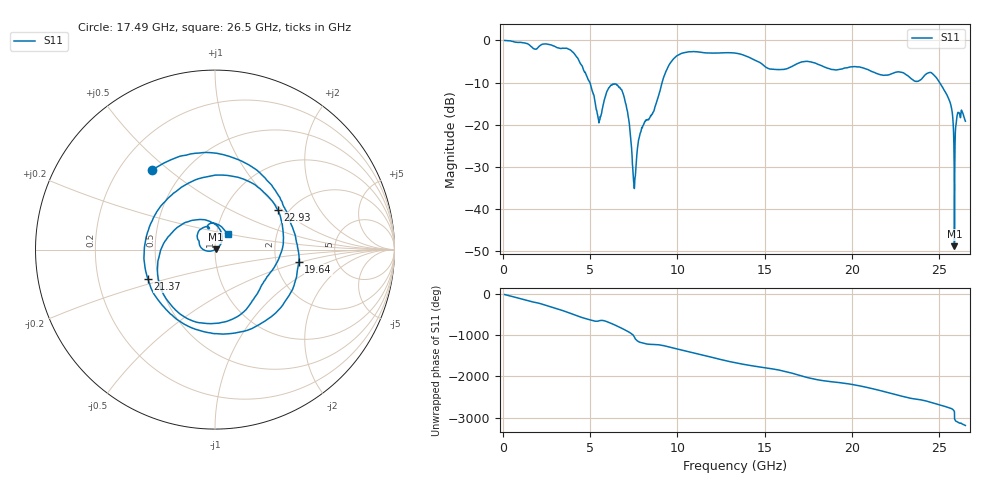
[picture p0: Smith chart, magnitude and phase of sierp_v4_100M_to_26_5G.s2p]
!Keysight Technologies,N5222B,MY60213399,A.14.00.23
!Date: Tuesday, February 27, 2024 20:36:21
!Correction: S11(C  1-Port  )
!S21(Off)
!S12(Off)
!S22(Off)
!S2P File: Measurement: :
# Hz S  dB  R 50
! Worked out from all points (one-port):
!   3201 points, 100 MHz to 26.5 GHz, reference 50 ohm
!   lowest |S11| = -48.9 dB at 25.87 GHz (marker M1), VSWR 1.01, Z = 50.3 + j0.0993 ohm
!   |S11| at or under -10 dB: 4.987 GHz to 9.124 GHz (4.137 GHz wide, 58.6 % of centre); 25.02 GHz to end of sweep
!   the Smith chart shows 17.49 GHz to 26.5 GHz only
!   S11 on the Smith chart (normalised r, x): 17.49 GHz: 0.34, +0.44; 19.64 GHz: 2.69, -0.47; 21.37 GHz: 0.43, -0.17; 22.93 GHz: 1.75, +0.94; 26.5 GHz: 1.13, +0.19
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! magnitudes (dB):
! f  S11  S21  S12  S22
! 100 MHz  0.0  -  -  -
! 4.505 GHz  -5.9  -  -  -
! 5.52 GHz  -19.3  -  -  -
! 6.122 GHz  -11.0  -  -  -
! 6.807 GHz  -11.7  -  -  -
! 7.17 GHz  -17.8  -  -  -
! 7.533 GHz  -35.2  -  -  -
! 7.904 GHz  -21.7  -  -  -
! 8.903 GHz  -13.4  -  -  -
! 10.06 GHz  -3.5  -  -  -
! 13.3 GHz  -3.0  -  -  -
! 17.49 GHz  -5.0  -  -  -
! 17.71 GHz  -5.2  -  -  -
! 19.64 GHz  -6.5  -  -  -
! 21.37 GHz  -7.8  -  -  -
! 22.1 GHz  -8.2  -  -  -
! 22.93 GHz  -7.7  -  -  -
! 24.83 GHz  -8.8  -  -  -
! 25.6 GHz  -14.5  -  -  -
! 25.87 GHz  -48.9  -  -  -
! 26.15 GHz  -17.2  -  -  -
! 26.5 GHz  -19.2  -  -  -
